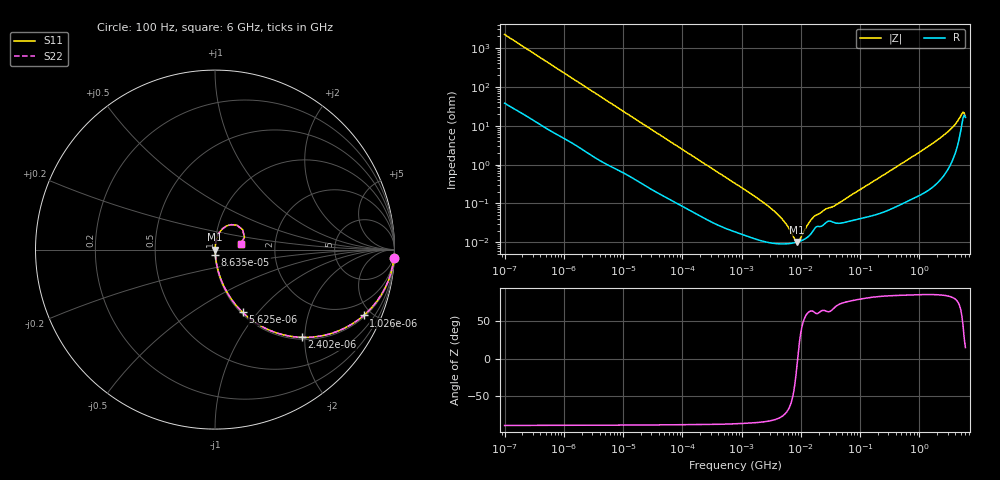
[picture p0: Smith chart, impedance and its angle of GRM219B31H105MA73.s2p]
!Murata Part Number: GRM219B31H105MA73
!These Parameters are Measured in Series Mode Connection
!Data Generated on Mar 30, 2021
!  o--ll--o
!Port1  Port2
!  o------o
!Operation Temp=25[degC], DC Bias Voltage=0[V]
!Freq. Start=100[Hz] Stop=6[GHz] 401[Steps]
# Hz S RI R 50
!Freq.(Hz) S11(Real) S11(Imag) S21(Real) S21(Imag) S12(Real) S12(Imag) S22(Real) S22(Imag)
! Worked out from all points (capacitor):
!   401 points, 100 Hz to 6 GHz, reference 50 ohm
!   read as one part in series: C = 710 nF near 109 Hz
!   lowest |Z| = 10.2 mohm at 8.692 MHz (marker M1)
!   series resonance near 8.842 MHz, so ESL is about 460 pH
!   S11 on the Smith chart (normalised r, x): 100 Hz: 2, -45; 1.026 kHz: 1.09, -4.47; 2.402 kHz: 1.04, -1.93; 5.625 kHz: 1.02, -0.83; 86.35 kHz: 1.00, -0.06; 6 GHz: 1.33, +0.09
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100  0.9972 -0.0446  0.00276 0.0446  0.00276 0.0446  0.9972 -0.0446
438  0.9609 -0.1846  0.0391 0.1846  0.0391 0.1846  0.9609 -0.1846
1026  0.8285 -0.3668  0.1715 0.3668  0.1715 0.3668  0.8285 -0.3668
2008  0.5698 -0.4844  0.4302 0.4844  0.4302 0.4844  0.5698 -0.4844
2402  0.4838 -0.489  0.5162 0.489  0.5162 0.489  0.4838 -0.489
5625  0.1542 -0.3497  0.8458 0.3497  0.8458 0.3497  0.1542 -0.3497
12041  0.0422 -0.1881  0.9578 0.1881  0.9578 0.1881  0.0422 -0.1881
40335  0.00538 -0.0598  0.9946 0.0598  0.9946 0.0598  0.00538 -0.0598
86348  0.00177 -0.0284  0.9982 0.0284  0.9982 0.0284  0.00177 -0.0284
774597  0.000196 -0.0033  0.9998 0.0033  0.9998 0.0033  0.000196 -0.0033
2074311  0.000113 -0.0012  0.9999 0.0012  0.9999 0.0012  0.000113 -0.0012
3712478  9.34e-05 -0.000592  0.9999 0.000592  0.9999 0.000592  9.34e-05 -0.000592
5311619  9.12e-05 -0.000322  0.9999 0.000322  0.9999 0.000322  9.12e-05 -0.000322
7947587  9.8e-05 -6.49e-05  0.9999 6.49e-05  0.9999 6.49e-05  9.8e-05 -6.49e-05
8692127  0.000101 -1.03e-05  0.9999 1.03e-05  0.9999 1.03e-05  0.000101 -1.03e-05
9506416  0.000106 4.45e-05  0.9999 -4.45e-05  0.9999 -4.45e-05  0.000106 4.45e-05
1.555665e7  0.000182 0.000369  0.9998 -0.000369  0.9998 -0.000369  0.000182 0.000369
3.124326e8  0.000731 0.00667  0.9993 -0.00667  0.9993 -0.00667  0.000731 0.00667
1.497423e9  0.00325 0.0309  0.9967 -0.0309  0.9967 -0.0309  0.00325 0.0309
3.352442e9  0.0159 0.0778  0.9841 -0.0778  0.9841 -0.0778  0.0159 0.0778
5.016141e9  0.0916 0.139  0.9084 -0.139  0.9084 -0.139  0.0916 0.139
6e9  0.1422 0.0325  0.8578 -0.0325  0.8578 -0.0325  0.1422 0.0325
